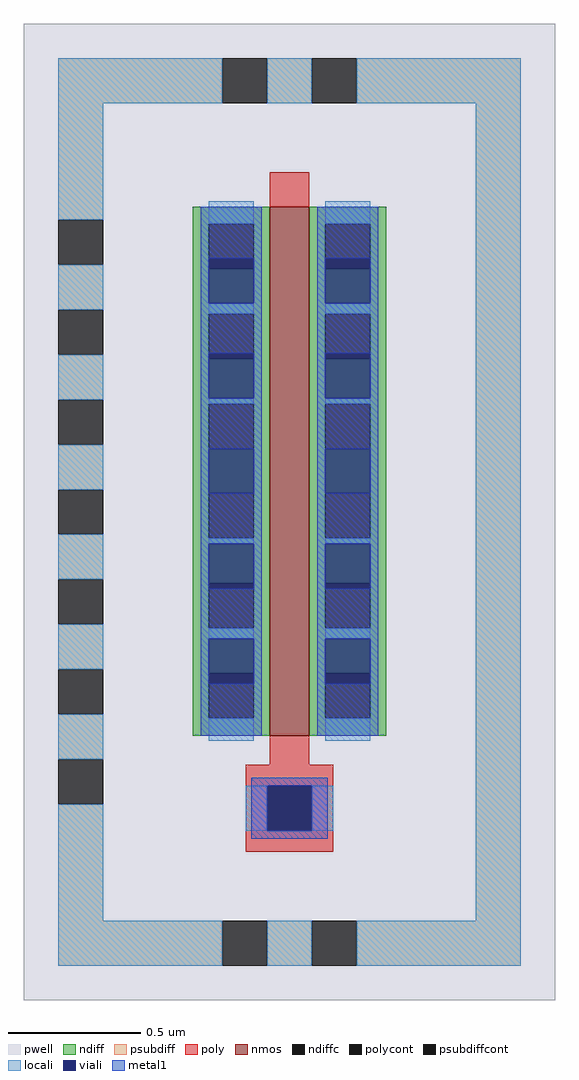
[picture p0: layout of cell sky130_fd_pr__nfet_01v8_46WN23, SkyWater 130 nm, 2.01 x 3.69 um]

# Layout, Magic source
magic
tech sky130A
magscale 1 2
<< pwell >>
rect -201 -369 201 369
<< nmos >>
rect -15 -169 15 231
<< ndiff >>
rect -73 218 -15 231
rect -73 184 -61 218
rect -27 184 -15 218
rect -73 150 -15 184
rect -73 116 -61 150
rect -27 116 -15 150
rect -73 82 -15 116
rect -73 48 -61 82
rect -27 48 -15 82
rect -73 14 -15 48
rect -73 -20 -61 14
rect -27 -20 -15 14
rect -73 -54 -15 -20
rect -73 -88 -61 -54
rect -27 -88 -15 -54
rect -73 -122 -15 -88
rect -73 -156 -61 -122
rect -27 -156 -15 -122
rect -73 -169 -15 -156
rect 15 218 73 231
rect 15 184 27 218
rect 61 184 73 218
rect 15 150 73 184
rect 15 116 27 150
rect 61 116 73 150
rect 15 82 73 116
rect 15 48 27 82
rect 61 48 73 82
rect 15 14 73 48
rect 15 -20 27 14
rect 61 -20 73 14
rect 15 -54 73 -20
rect 15 -88 27 -54
rect 61 -88 73 -54
rect 15 -122 73 -88
rect 15 -156 27 -122
rect 61 -156 73 -122
rect 15 -169 73 -156
<< ndiffc >>
rect -61 184 -27 218
rect -61 116 -27 150
rect -61 48 -27 82
rect -61 -20 -27 14
rect -61 -88 -27 -54
rect -61 -156 -27 -122
rect 27 184 61 218
rect 27 116 61 150
rect 27 48 61 82
rect 27 -20 61 14
rect 27 -88 61 -54
rect 27 -156 61 -122
<< psubdiff >>
rect -175 309 -51 343
rect -17 309 17 343
rect 51 309 175 343
rect -175 221 -141 309
rect -175 153 -141 187
rect -175 85 -141 119
rect -175 17 -141 51
rect -175 -51 -141 -17
rect -175 -119 -141 -85
rect -175 -187 -141 -153
rect -175 -309 -141 -221
rect 141 -309 175 309
rect -175 -343 -51 -309
rect -17 -343 17 -309
rect 51 -343 175 -309
<< psubdiffcont >>
rect -51 309 -17 343
rect 17 309 51 343
rect -175 187 -141 221
rect -175 119 -141 153
rect -175 51 -141 85
rect -175 -17 -141 17
rect -175 -85 -141 -51
rect -175 -153 -141 -119
rect -175 -221 -141 -187
rect -51 -343 -17 -309
rect 17 -343 51 -309
<< poly >>
rect -15 231 15 257
rect -15 -191 15 -169
rect -33 -207 33 -191
rect -33 -241 -17 -207
rect 17 -241 33 -207
rect -33 -257 33 -241
<< polycont >>
rect -17 -241 17 -207
<< locali >>
rect -175 309 -51 343
rect -17 309 17 343
rect 51 309 175 343
rect -175 221 -141 309
rect -175 153 -141 187
rect -175 85 -141 119
rect -175 17 -141 51
rect -175 -51 -141 -17
rect -175 -119 -141 -85
rect -175 -187 -141 -153
rect -61 218 -27 235
rect -61 150 -27 158
rect -61 82 -27 86
rect -61 -24 -27 -20
rect -61 -96 -27 -88
rect -61 -173 -27 -156
rect 27 218 61 235
rect 27 150 61 158
rect 27 82 61 86
rect 27 -24 61 -20
rect 27 -96 61 -88
rect 27 -173 61 -156
rect -175 -309 -141 -221
rect -33 -241 -17 -207
rect 17 -241 33 -207
rect 141 -309 175 309
rect -175 -343 -51 -309
rect -17 -343 17 -309
rect 51 -343 175 -309
<< viali >>
rect -61 184 -27 192
rect -61 158 -27 184
rect -61 116 -27 120
rect -61 86 -27 116
rect -61 14 -27 48
rect -61 -54 -27 -24
rect -61 -58 -27 -54
rect -61 -122 -27 -96
rect -61 -130 -27 -122
rect 27 184 61 192
rect 27 158 61 184
rect 27 116 61 120
rect 27 86 61 116
rect 27 14 61 48
rect 27 -54 61 -24
rect 27 -58 61 -54
rect 27 -122 61 -96
rect 27 -130 61 -122
rect -17 -241 17 -207
<< metal1 >>
rect -67 192 -21 231
rect -67 158 -61 192
rect -27 158 -21 192
rect -67 120 -21 158
rect -67 86 -61 120
rect -27 86 -21 120
rect -67 48 -21 86
rect -67 14 -61 48
rect -27 14 -21 48
rect -67 -24 -21 14
rect -67 -58 -61 -24
rect -27 -58 -21 -24
rect -67 -96 -21 -58
rect -67 -130 -61 -96
rect -27 -130 -21 -96
rect -67 -169 -21 -130
rect 21 192 67 231
rect 21 158 27 192
rect 61 158 67 192
rect 21 120 67 158
rect 21 86 27 120
rect 61 86 67 120
rect 21 48 67 86
rect 21 14 27 48
rect 61 14 67 48
rect 21 -24 67 14
rect 21 -58 27 -24
rect 61 -58 67 -24
rect 21 -96 67 -58
rect 21 -130 27 -96
rect 61 -130 67 -96
rect 21 -169 67 -130
rect -29 -207 29 -201
rect -29 -241 -17 -207
rect 17 -241 29 -207
rect -29 -247 29 -241
<< properties >>
string FIXED_BBOX -158 -326 158 326
<< end >>
